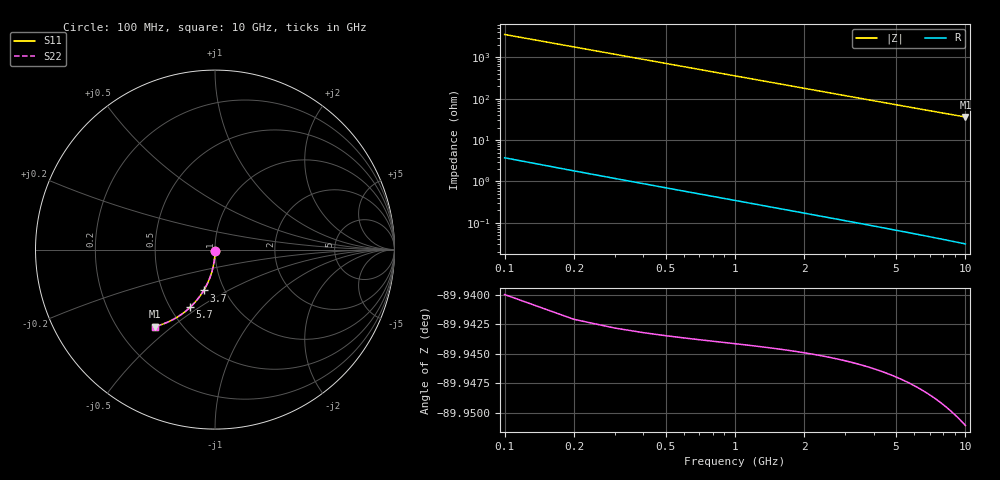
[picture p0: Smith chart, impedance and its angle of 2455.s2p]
# Hz S RI R 50.00
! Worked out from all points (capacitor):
!   100 points, 100 MHz to 10 GHz, reference 50 ohm
!   read as one part in shunt: C = 447 fF near 100 MHz
!   lowest |Z| = 36.1 ohm at 10 GHz (marker M1)
!   S11 on the Smith chart (normalised r, x): 100 MHz: 1.00, -0.01; 3.7 GHz: 0.80, -0.39; 5.7 GHz: 0.63, -0.46; 10 GHz: 0.36, -0.44
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1e8  0.00013 -0.00658  0.9998 -0.00744  0.9998 -0.00744  0.00013 -0.00658
2e8  -2.25e-05 -0.0132  0.9996 -0.0149  0.9996 -0.0149  -2.25e-05 -0.0132
3e8  -0.000273 -0.0197  0.9993 -0.0223  0.9993 -0.0223  -0.000273 -0.0197
4e8  -0.000622 -0.0263  0.999 -0.0298  0.999 -0.0298  -0.000622 -0.0263
5e8  -0.00107 -0.0329  0.9985 -0.0372  0.9985 -0.0372  -0.00107 -0.0329
6e8  -0.00161 -0.0394  0.998 -0.0446  0.998 -0.0446  -0.00161 -0.0394
8e8  -0.00299 -0.0525  0.9966 -0.0594  0.9966 -0.0594  -0.00299 -0.0525
9e8  -0.00383 -0.059  0.9958 -0.0668  0.9958 -0.0668  -0.00383 -0.059
1.1e9  -0.00578 -0.072  0.9938 -0.0815  0.9938 -0.0815  -0.00578 -0.072
1.4e9  -0.00943 -0.0913  0.9901 -0.1033  0.9901 -0.1033  -0.00943 -0.0913
1.8e9  -0.0156 -0.1166  0.9839 -0.1321  0.9839 -0.1321  -0.0156 -0.1166
2.1e9  -0.0211 -0.1353  0.9783 -0.1533  0.9783 -0.1533  -0.0211 -0.1353
2.5e9  -0.0298 -0.1596  0.9696 -0.1811  0.9696 -0.1811  -0.0298 -0.1596
2.9e9  -0.0397 -0.1831  0.9596 -0.2081  0.9596 -0.2081  -0.0397 -0.1831
3.4e9  -0.0539 -0.2114  0.9453 -0.2407  0.9453 -0.2407  -0.0539 -0.2114
3.7e9  -0.0632 -0.2277  0.9359 -0.2596  0.9359 -0.2596  -0.0632 -0.2277
4.4e9  -0.0873 -0.2636  0.9116 -0.3016  0.9116 -0.3016  -0.0873 -0.2636
5.1e9  -0.1141 -0.2962  0.8845 -0.3403  0.8845 -0.3403  -0.1141 -0.2962
5.7e9  -0.1388 -0.3214  0.8596 -0.3707  0.8596 -0.3707  -0.1388 -0.3214
6.7e9  -0.1826 -0.3577  0.8153 -0.4158  0.8153 -0.4158  -0.1826 -0.3577
8.4e9  -0.2611 -0.403  0.7358 -0.4761  0.7358 -0.4761  -0.2611 -0.403
1e10  -0.3352 -0.4285  0.6605 -0.516  0.6605 -0.516  -0.3352 -0.4285
